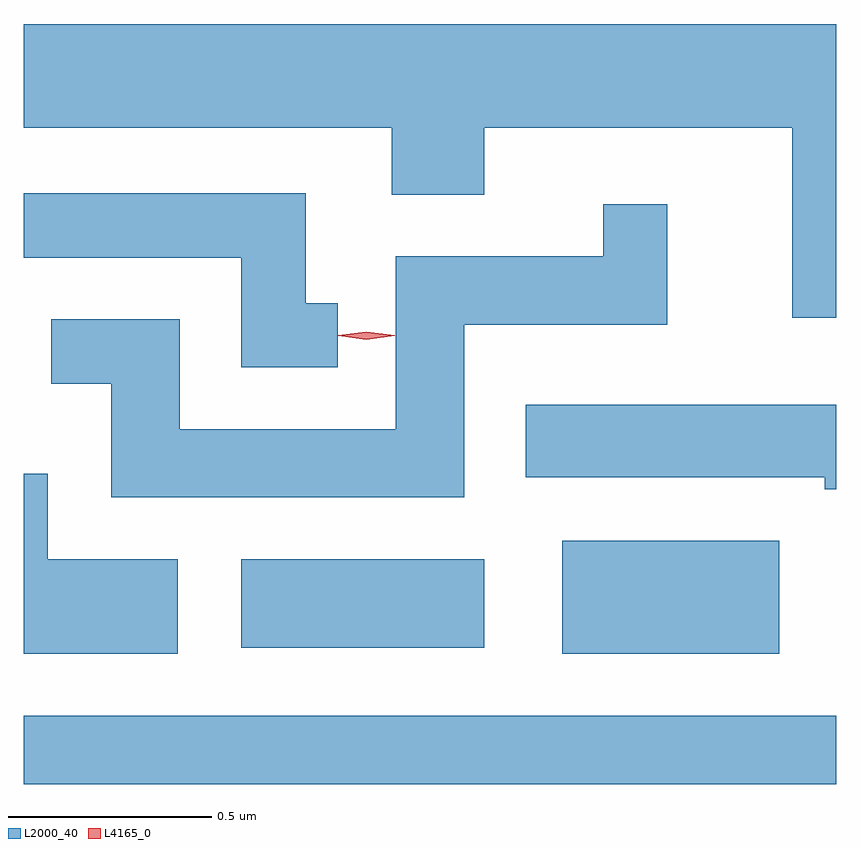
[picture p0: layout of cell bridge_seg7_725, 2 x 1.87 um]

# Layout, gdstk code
import gdstk
lib = gdstk.Library(unit=1e-6, precision=1e-09)
def R(c, l, rs):  # rectangles x0, y0, x1, y1
    for r in rs: c.add(gdstk.rectangle(r[:2], r[2:], *l))
def P(c, l, *ps):  # polygons
    for p in ps: c.add(gdstk.Polygon(p, *l))
L2000_40 = (2000, 40)
L4165_0 = (4165, 0)

bridge_seg7_725 = lib.new_cell('bridge_seg7_725')
R(bridge_seg7_725, L2000_40, [(912.965,1717.141,914.965,1717.309), (914.291,1717.461,914.824,1717.739), (913.501,1717.476,914.099,1717.694)])
P(bridge_seg7_725, L2000_40, [(914.965,1719.011),(912.965,1719.011),(912.965,1718.756),(913.871,1718.756),(913.871,1718.591),(914.099,1718.591),(914.099,1718.756),(914.856,1718.756),(914.856,1718.288),(914.965,1718.288)],
  [(913.738,1718.324),(913.659,1718.324),(913.659,1718.594),(912.965,1718.594),(912.965,1718.436),(913.501,1718.436),(913.501,1718.166),(913.738,1718.166)],
  [(914.049,1718.271),(914.549,1718.271),(914.549,1718.568),(914.391,1718.568),(914.391,1718.439),(913.881,1718.439),(913.881,1718.014),(913.349,1718.014),(913.349,1718.284),(913.033,1718.284),(913.033,1718.126),(913.181,1718.126),(913.181,1717.846),(914.049,1717.846)],
  [(914.965,1718.074),(914.201,1718.074),(914.201,1717.896),(914.936,1717.896),(914.936,1717.866),(914.965,1717.866)],
  [(913.344,1717.694),(913.024,1717.694),(913.024,1717.904),(912.965,1717.904),(912.965,1717.461),(913.344,1717.461)])
P(bridge_seg7_725, L4165_0, [(913.808,1718.234),(913.739,1718.244),(913.739,1718.244),(913.739,1718.245),(913.808,1718.254),(913.878,1718.245),(913.878,1718.244),(913.878,1718.244)])

lib.write_gds('bridge_seg7_725.gds')
